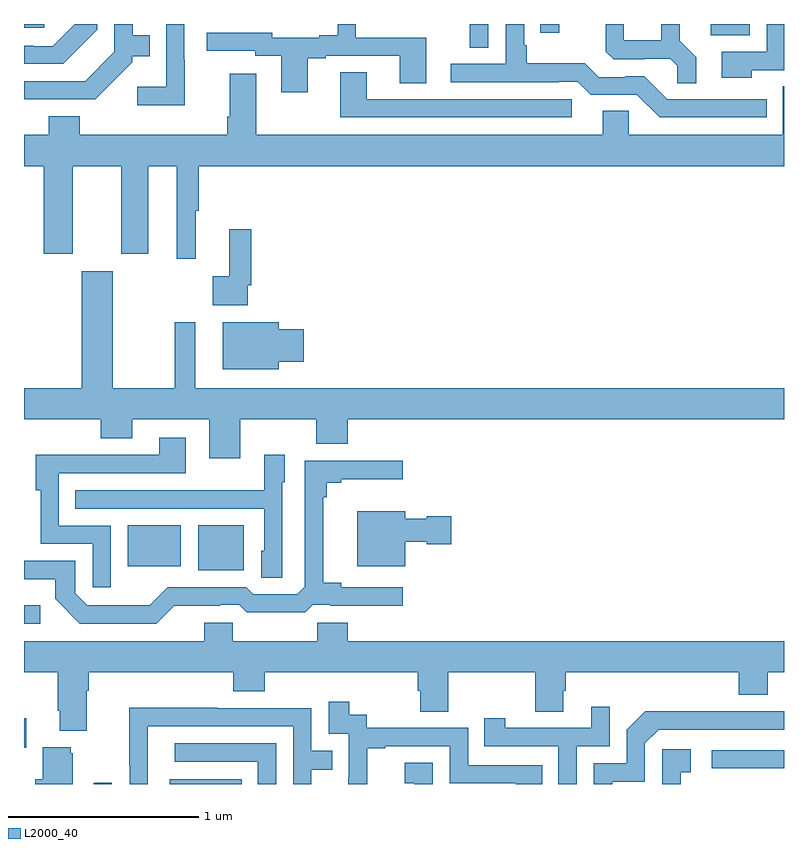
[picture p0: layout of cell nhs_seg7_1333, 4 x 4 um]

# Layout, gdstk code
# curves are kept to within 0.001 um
import gdstk
lib = gdstk.Library(unit=1e-6, precision=1e-09)
def R(c, l, rs):  # rectangles x0, y0, x1, y1
    for r in rs: c.add(gdstk.rectangle(r[:2], r[2:], *l))
def P(c, l, *ps):  # polygons
    for p in ps: c.add(gdstk.Polygon(p, *l))
L2000_40 = (2000, 40)

nhs_seg7_1333 = lib.new_cell('nhs_seg7_1333')
R(nhs_seg7_1333, L2000_40, [(203.367,1028,203.463,1028.007), (203.768,1028,204.146,1028.026), (206.619,1028.082,207,1028.178), (203,1028.191,203.011,1028.347), (203,1028.844,203.086,1028.941), (203.918,1029.125,204.157,1029.361), (203.546,1029.146,203.824,1029.361), (205.345,1031.875,205.443,1032), (206.615,1031.942,206.821,1032), (205.717,1031.955,205.818,1032), (203,1031.979,203.107,1032)])
P(nhs_seg7_1333, L2000_40, [(203.847,1031.813),(203.844,1031.813),(203.844,1032),(203.748,1032),(203.748,1031.671),(203.595,1031.671),(203.595,1031.573),(203.847,1031.573)],
  [(206.908,1031.604),(206.385,1031.604),(206.265,1031.724),(206.164,1031.724),(206.164,1031.721),(206.025,1031.721),(205.952,1031.794),(205.645,1031.794),(205.645,1031.887),(205.632,1031.887),(205.632,1032),(205.536,1032),(205.536,1031.79),(205.245,1031.79),(205.245,1031.694),(205.814,1031.694),(205.814,1031.697),(205.914,1031.697),(205.983,1031.628),(206.226,1031.628),(206.346,1031.508),(206.908,1031.508)],
  [(203.385,1031.969),(203.385,1032),(203.268,1032),(203.151,1031.883),(203.051,1031.883),(203.051,1031.886),(203,1031.886),(203,1031.79),(203.206,1031.79)],
  [(206.537,1031.825),(206.451,1031.911),(206.451,1032),(206.354,1032),(206.354,1031.914),(206.156,1031.914),(206.156,1032),(206.062,1032),(206.062,1031.855),(206.103,1031.814),(206.268,1031.814),(206.268,1031.817),(206.402,1031.817),(206.439,1031.78),(206.439,1031.689),(206.537,1031.689)],
  [(206.829,1031.757),(207,1031.757),(207,1032),(206.91,1032),(206.91,1031.853),(206.673,1031.853),(206.673,1031.717),(206.829,1031.717)],
  [(204.493,1031.82),(204.589,1031.82),(204.589,1031.832),(204.977,1031.832),(204.977,1031.689),(205.117,1031.689),(205.117,1031.928),(204.747,1031.928),(204.747,1032),(204.65,1032),(204.65,1031.941),(204.554,1031.941),(204.554,1031.928),(204.306,1031.928),(204.306,1031.955),(203.961,1031.955),(203.961,1031.859),(204.216,1031.859),(204.216,1031.832),(204.353,1031.832),(204.353,1031.64),(204.493,1031.64)],
  [(203.045,1031.604),(203.376,1031.604),(203.571,1031.799),(203.571,1031.831),(203.663,1031.831),(203.663,1031.941),(203.572,1031.941),(203.572,1032),(203.475,1032),(203.475,1031.853),(203.322,1031.7),(203,1031.7),(203,1031.603)],
  [(205.882,1031.604),(204.805,1031.604),(204.805,1031.747),(204.665,1031.747),(204.665,1031.508),(205.882,1031.508)],
  [(203.903,1031.016),(203.921,1031.016),(203.921,1031.252),(207,1031.252),(207,1031.672),(206.993,1031.672),(206.993,1031.416),(206.184,1031.416),(206.184,1031.543),(206.045,1031.543),(206.045,1031.416),(204.223,1031.416),(204.223,1031.737),(204.083,1031.737),(204.083,1031.512),(204.071,1031.512),(204.071,1031.416),(203.294,1031.416),(203.294,1031.515),(203.129,1031.515),(203.129,1031.416),(203,1031.416),(203,1031.252),(203.105,1031.252),(203.105,1030.791),(203.257,1030.791),(203.257,1031.252),(203.513,1031.252),(203.513,1030.791),(203.653,1030.791),(203.653,1031.252),(203.804,1031.252),(203.804,1030.764),(203.903,1030.764)],
  [(204.177,1030.624),(204.197,1030.624),(204.197,1030.921),(204.08,1030.921),(204.08,1030.673),(203.994,1030.673),(203.994,1030.52),(204.177,1030.52)],
  [(204.139,1029.92),(204.539,1029.92),(204.539,1029.792),(204.703,1029.792),(204.703,1029.92),(207,1029.92),(207,1030.084),(203.902,1030.084),(203.902,1030.429),(203.793,1030.429),(203.793,1030.084),(203.467,1030.084),(203.467,1030.699),(203.303,1030.699),(203.303,1030.084),(203,1030.084),(203,1029.92),(203.405,1029.92),(203.405,1029.821),(203.569,1029.821),(203.569,1029.92),(203.975,1029.92),(203.975,1029.714),(204.139,1029.714)],
  [(204.34,1030.223),(204.472,1030.223),(204.472,1030.394),(204.34,1030.394),(204.34,1030.429),(204.047,1030.429),(204.047,1030.184),(204.34,1030.184)],
  [(203.457,1029.36),(203.184,1029.36),(203.184,1029.636),(203.851,1029.636),(203.851,1029.823),(203.711,1029.823),(203.711,1029.732),(203.281,1029.732),(203.281,1029.734),(203.063,1029.734),(203.063,1029.546),(203.088,1029.546),(203.088,1029.264),(203.361,1029.264),(203.361,1029.036),(203.457,1029.036)],
  [(204.36,1029.588),(204.373,1029.588),(204.373,1029.733),(204.264,1029.733),(204.264,1029.547),(203.947,1029.547),(203.947,1029.546),(203.269,1029.546),(203.269,1029.45),(204.264,1029.45),(204.264,1029.228),(204.248,1029.228),(204.248,1029.085),(204.36,1029.085)],
  [(203.792,1028.939),(204.032,1028.939),(204.032,1028.943),(204.132,1028.943),(204.172,1028.904),(204.479,1028.904),(204.519,1028.943),(204.613,1028.943),(204.613,1028.939),(204.994,1028.939),(204.994,1029.036),(204.67,1029.036),(204.67,1029.059),(204.575,1029.059),(204.575,1029.509),(204.593,1029.509),(204.593,1029.586),(204.67,1029.586),(204.67,1029.605),(204.994,1029.605),(204.994,1029.702),(204.477,1029.702),(204.477,1029.039),(204.438,1029),(204.207,1029),(204.171,1029.036),(203.757,1029.036),(203.663,1028.942),(203.558,1028.942),(203.558,1028.94),(203.334,1028.94),(203.271,1029.003),(203.271,1029.174),(203,1029.174),(203,1029.077),(203.164,1029.077),(203.164,1028.975),(203.294,1028.844),(203.697,1028.844)],
  [(205.006,1029.275),(205.119,1029.275),(205.119,1029.263),(205.249,1029.263),(205.249,1029.41),(205.119,1029.41),(205.119,1029.397),(205.006,1029.397),(205.006,1029.436),(204.755,1029.436),(204.755,1029.146),(205.006,1029.146)],
  [(203,1028.588),(203.177,1028.588),(203.177,1028.386),(203.189,1028.386),(203.189,1028.279),(203.329,1028.279),(203.329,1028.492),(203.342,1028.492),(203.342,1028.588),(204.101,1028.588),(204.101,1028.489),(204.266,1028.489),(204.266,1028.588),(205.073,1028.588),(205.073,1028.49),(205.085,1028.49),(205.085,1028.38),(205.233,1028.38),(205.233,1028.588),(205.69,1028.588),(205.69,1028.38),(205.837,1028.38),(205.837,1028.49),(205.85,1028.49),(205.85,1028.588),(206.762,1028.588),(206.762,1028.471),(206.914,1028.471),(206.914,1028.588),(207,1028.588),(207,1028.752),(204.704,1028.752),(204.704,1028.85),(204.544,1028.85),(204.544,1028.752),(204.099,1028.752),(204.099,1028.85),(203.948,1028.85),(203.948,1028.752),(203,1028.752)],
  [(204.806,1028.187),(204.901,1028.187),(204.901,1028.199),(205.242,1028.199),(205.242,1028.004),(205.587,1028.004),(205.587,1028),(205.727,1028),(205.727,1028.1),(205.338,1028.1),(205.338,1028.295),(204.804,1028.295),(204.804,1028.364),(204.712,1028.364),(204.712,1028.434),(204.603,1028.434),(204.603,1028.265),(204.708,1028.265),(204.708,1028.036),(204.707,1028.036),(204.707,1028),(204.806,1028)],
  [(205.908,1028.199),(206.082,1028.199),(206.082,1028.407),(205.985,1028.407),(205.985,1028.295),(205.534,1028.295),(205.534,1028.347),(205.423,1028.347),(205.423,1028.199),(205.812,1028.199),(205.812,1028),(205.908,1028)],
  [(203.652,1028.304),(204.417,1028.304),(204.417,1028),(204.513,1028),(204.513,1028.074),(204.623,1028.074),(204.623,1028.175),(204.513,1028.175),(204.513,1028.4),(204.017,1028.4),(204.017,1028.402),(203.554,1028.402),(203.554,1028.095),(203.556,1028.095),(203.556,1028),(203.652,1028)],
  [(206.095,1028.013),(206.268,1028.013),(206.268,1028.214),(206.34,1028.286),(207,1028.286),(207,1028.382),(206.678,1028.382),(206.678,1028.384),(206.27,1028.384),(206.172,1028.286),(206.172,1028.109),(205.998,1028.109),(205.998,1028),(206.095,1028)],
  [(204.327,1028.214),(203.793,1028.214),(203.793,1028.118),(204.231,1028.118),(204.231,1028),(204.327,1028)],
  [(203.257,1028.163),(203.246,1028.163),(203.246,1028.194),(203.099,1028.194),(203.099,1028.026),(203.06,1028.026),(203.06,1028),(203.257,1028)],
  [(206.456,1028.061),(206.509,1028.061),(206.509,1028.182),(206.358,1028.182),(206.358,1028),(206.456,1028)],
  [(205.152,1028.113),(205.005,1028.113),(205.005,1028.003),(205.054,1028.003),(205.054,1028),(205.152,1028)])

lib.write_gds('nhs_seg7_1333.gds')
